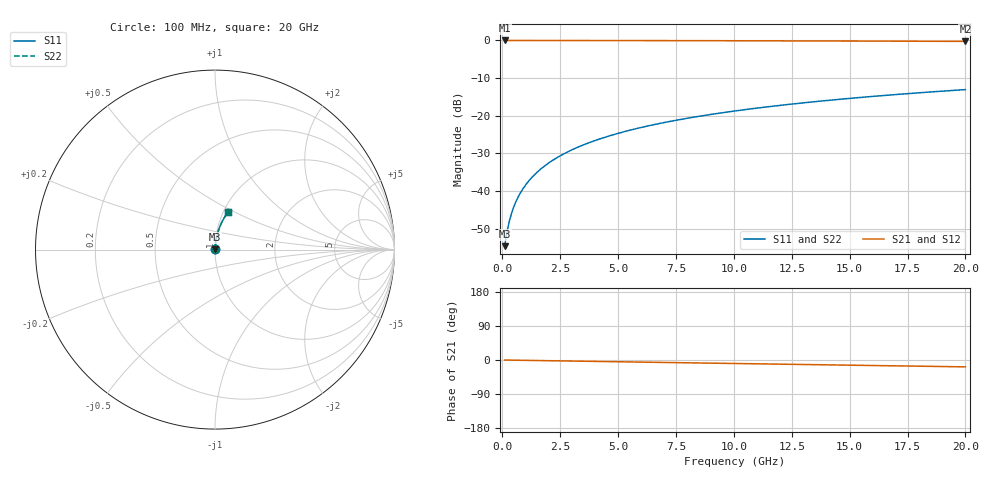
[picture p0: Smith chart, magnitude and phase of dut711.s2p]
! Touchstone file exported from HFSS 2026.1.0
!  File:  C:/ffzhzh/LocalFiles/Ansys_Project_Files/temp_train_TMRDL_711_1783154615_18472.aedt
!  Generated:  04:44:48 PM Jul  4, 2026
!  Design:  TMRDL
!  Project:  temp_train_TMRDL_711_1783154615_18472
! Variables:
!  h_bsmrdl = 2um
!  h_ox = 20um
!  h_rdl = 5um
!  h_sub = 80um
!  h_tmrdl = 2.88um
!  h_tsv = 80um
!  h_via = 3um
!  l_bsmrdl = 300um
!  l_sub = 580.43um
!  l_tmrdl = 180.43um
!  m_sub = 200um
!  pitch = 59.73um
!  r_tsv = 6um
!  s_tmrdl = 10um
!  w_bsmrdl = 18um
!  w_sub = 500um
!  w_tmrdl = 19.54um
!  x_tsv_center1 = 190.2um
!  x_tsv_center2 = 508.2um
!  x_tsv_center3 = 708.17um
!  x_tsv_center4 = 1026.17um
!  x_tsv_center5 = 1226.14um
!  x_tsv_center6 = 1544.14um
# GHz S MA R 50.000000
! Terminal data exported
! Port[1] = TM_RDL1_1_T1
! Port[2] = TM_RDL1_1_T2
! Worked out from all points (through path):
!   200 points, 100 MHz to 20 GHz, reference 50 ohm
!   highest |S21| = -0.01 dB at 100 MHz (marker M1); lowest = -0.3 dB at 20 GHz (marker M2)
!   group delay of S21, straight-line fit = 2.52 ps
!   lowest |S11| = -54.6 dB at 100 MHz (marker M3), VSWR 1.00, Z = 50.1 + j0.124 ohm
!   |S11| at or under -10 dB: start of sweep to end of sweep
!   |S22| runs from -54.6 to -13.0 dB; largest |S21 - S12| = 2.6e-15
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0.1  0.001865 41.5  0.9986 -0.1  0.9986 -0.1  0.001865 41.5
! Gamma 0 0 0 0
! Port Impedance 50 0 50 0
0.2  0.002847 59.7  0.9986 -0.2  0.9986 -0.2  0.002847 59.7
0.3  0.003956 67.9  0.9985 -0.3  0.9985 -0.3  0.003956 67.9
0.4  0.005097 72.4  0.9985 -0.4  0.9985 -0.4  0.005097 72.4
0.5  0.006245 75.2  0.9984 -0.5  0.9984 -0.5  0.006245 75.2
0.6  0.007395 77.1  0.9984 -0.6  0.9984 -0.6  0.007395 77.1
0.8  0.0097 79.5  0.9983 -0.8  0.9983 -0.8  0.0097 79.5
1.1  0.01317 81.6  0.9982 -1.0  0.9982 -1.0  0.01317 81.6
1.5  0.01781 83.0  0.9981 -1.4  0.9981 -1.4  0.01781 83.0
1.8  0.0213 83.6  0.998 -1.7  0.998 -1.7  0.0213 83.6
2.1  0.0248 83.9  0.9979 -2.0  0.9979 -2.0  0.0248 83.9
2.7  0.03179 84.1  0.9976 -2.5  0.9976 -2.5  0.03179 84.1
3.5  0.04111 84.0  0.9972 -3.3  0.9972 -3.3  0.0411 84.0
4.2  0.04924 83.7  0.9967 -3.9  0.9967 -3.9  0.04924 83.7
5  0.0585 83.2  0.9961 -4.7  0.9961 -4.7  0.0585 83.2
5.9  0.06888 82.6  0.9953 -5.5  0.9953 -5.5  0.06888 82.6
6.8  0.07921 81.9  0.9944 -6.3  0.9944 -6.3  0.0792 81.9
8.3  0.09628 80.7  0.9926 -7.7  0.9926 -7.7  0.09628 80.7
10.1  0.1165 79.1  0.9901 -9.3  0.9901 -9.3  0.1165 79.1
13.4  0.1529 76.3  0.9846 -12.3  0.9846 -12.3  0.1529 76.3
16.7  0.1883 73.5  0.9779 -15.2  0.9779 -15.2  0.1883 73.5
20  0.2226 70.7  0.9703 -18.1  0.9703 -18.1  0.2226 70.7
